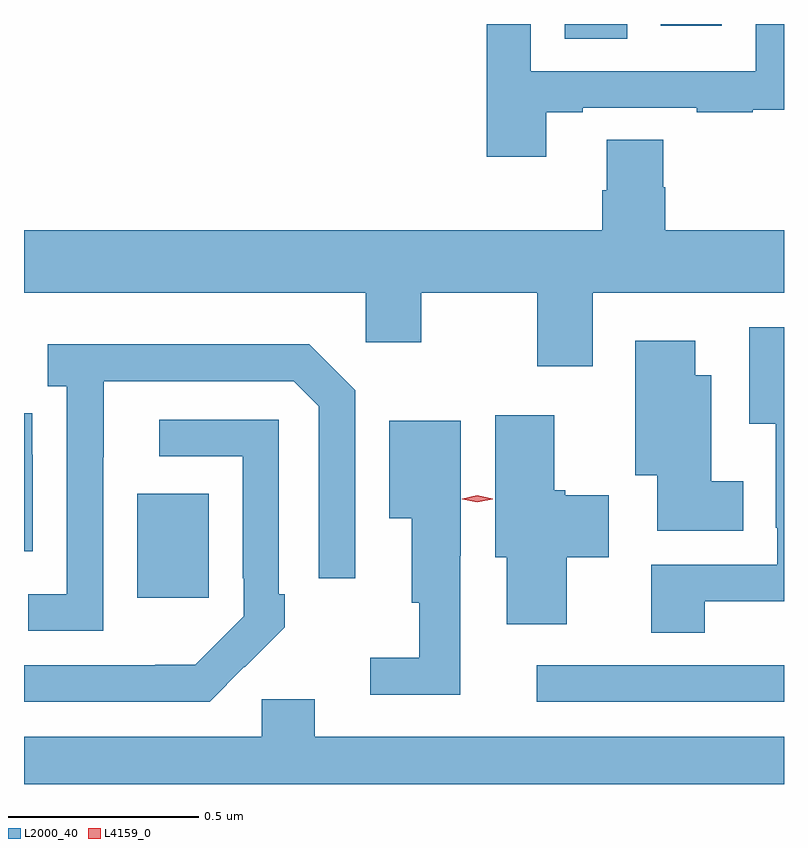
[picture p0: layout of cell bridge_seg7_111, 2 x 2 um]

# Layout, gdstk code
import gdstk
lib = gdstk.Library(unit=1e-6, precision=1e-09)
def R(c, l, rs):  # rectangles x0, y0, x1, y1
    for r in rs: c.add(gdstk.rectangle(r[:2], r[2:], *l))
def P(c, l, *ps):  # polygons
    for p in ps: c.add(gdstk.Polygon(p, *l))
L2000_40 = (2000, 40)
L4159_0 = (4159, 0)

bridge_seg7_111 = lib.new_cell('bridge_seg7_111')
R(bridge_seg7_111, L2000_40, [(1082.106,1006.2,1082.757,1006.296), (1081.055,1006.473,1081.243,1006.747), (1082.18,1007.944,1082.344,1007.983), (1082.432,1007.979,1082.593,1007.983)])
P(bridge_seg7_111, L2000_40, [(1082.131,1007.751),(1082.227,1007.751),(1082.227,1007.763),(1082.527,1007.763),(1082.527,1007.751),(1082.675,1007.751),(1082.675,1007.757),(1082.757,1007.757),(1082.757,1007.983),(1082.682,1007.983),(1082.682,1007.859),(1082.091,1007.859),(1082.091,1007.983),(1081.975,1007.983),(1081.975,1007.634),(1082.131,1007.634)],
  [(1082.254,1007.276),(1082.757,1007.276),(1082.757,1007.44),(1082.444,1007.44),(1082.444,1007.553),(1082.439,1007.553),(1082.439,1007.678),(1082.291,1007.678),(1082.291,1007.546),(1082.279,1007.546),(1082.279,1007.44),(1080.757,1007.44),(1080.757,1007.276),(1081.656,1007.276),(1081.656,1007.145),(1081.803,1007.145),(1081.803,1007.276),(1082.107,1007.276),(1082.107,1007.082),(1082.254,1007.082)],
  [(1082.548,1006.464),(1082.757,1006.464),(1082.757,1007.185),(1082.666,1007.185),(1082.666,1006.931),(1082.735,1006.931),(1082.735,1006.657),(1082.739,1006.657),(1082.739,1006.56),(1082.408,1006.56),(1082.408,1006.381),(1082.548,1006.381)],
  [(1082.65,1006.78),(1082.566,1006.78),(1082.566,1007.059),(1082.524,1007.059),(1082.524,1007.149),(1082.366,1007.149),(1082.366,1006.796),(1082.423,1006.796),(1082.423,1006.649),(1082.65,1006.649)],
  [(1080.966,1006.843),(1080.967,1006.843),(1080.967,1007.043),(1081.467,1007.043),(1081.533,1006.977),(1081.533,1006.524),(1081.629,1006.524),(1081.629,1007.019),(1081.508,1007.14),(1080.819,1007.14),(1080.819,1007.03),(1080.87,1007.03),(1080.87,1006.482),(1080.768,1006.482),(1080.768,1006.386),(1080.966,1006.386)],
  [(1080.78,1006.85),(1080.779,1006.85),(1080.779,1006.959),(1080.757,1006.959),(1080.757,1006.596),(1080.78,1006.596)],
  [(1082.185,1006.58),(1082.296,1006.58),(1082.296,1006.743),(1082.181,1006.743),(1082.181,1006.756),(1082.152,1006.756),(1082.152,1006.954),(1081.997,1006.954),(1081.997,1006.58),(1082.027,1006.58),(1082.027,1006.404),(1082.185,1006.404)],
  [(1081.337,1006.291),(1081.338,1006.29),(1081.443,1006.395),(1081.443,1006.483),(1081.428,1006.483),(1081.428,1006.941),(1081.113,1006.941),(1081.113,1006.845),(1081.332,1006.845),(1081.332,1006.525),(1081.335,1006.525),(1081.335,1006.425),(1081.207,1006.297),(1081.103,1006.297),(1081.103,1006.296),(1080.757,1006.296),(1080.757,1006.2),(1081.246,1006.2)],
  [(1081.905,1006.584),(1081.906,1006.584),(1081.906,1006.939),(1081.718,1006.939),(1081.718,1006.682),(1081.778,1006.682),(1081.778,1006.46),(1081.797,1006.46),(1081.797,1006.315),(1081.668,1006.315),(1081.668,1006.218),(1081.905,1006.218)],
  [(1082.757,1006.108),(1081.522,1006.108),(1081.522,1006.206),(1081.383,1006.206),(1081.383,1006.108),(1080.757,1006.108),(1080.757,1005.983),(1082.757,1005.983)])
P(bridge_seg7_111, L4159_0, [(1081.95,1006.724),(1081.91,1006.733),(1081.91,1006.733),(1081.91,1006.734),(1081.95,1006.743),(1081.991,1006.734),(1081.991,1006.733),(1081.991,1006.733)])

lib.write_gds('bridge_seg7_111.gds')
